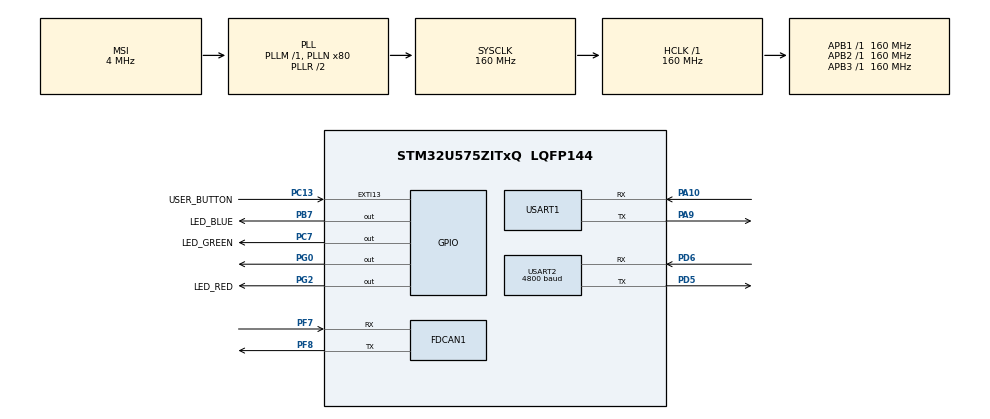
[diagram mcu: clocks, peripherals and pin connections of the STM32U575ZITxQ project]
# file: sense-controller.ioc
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CORTEX_M33_NS.userName=CORTEX_M33
FDCAN1.AutoRetransmission=ENABLE
FDCAN1.CalculateBaudRateNominal=500000
FDCAN1.CalculateTimeBitNominal=2000
FDCAN1.CalculateTimeQuantumNominal=100.0
FDCAN1.ClockDivider=FDCAN_CLOCK_DIV4
FDCAN1.DataSyncJumpWidth=16
FDCAN1.DataTimeSeg1=23
FDCAN1.DataTimeSeg2=16
FDCAN1.ExtFiltersNbr=1
FDCAN1.FrameFormat=FDCAN_FRAME_FD_BRS
FDCAN1.NominalPrescaler=4
FDCAN1.NominalSyncJumpWidth=3
FDCAN1.NominalTimeSeg1=16
FDCAN1.NominalTimeSeg2=3
FDCAN1.StdFiltersNbr=1
GPDMA1.DESTINC_GPDMACH15=DMA_DINC_INCREMENTED
GPDMA1.IPHANDLE_GPDMACH15-SIMPLEREQUEST_GPDMACH15=__NULL
GPDMA1.REQUEST_GPDMACH15=GPDMA1_REQUEST_USART2_RX
Mcu.Family=STM32U5
Mcu.Name=STM32U575ZITxQ
Mcu.Package=LQFP144
NVIC.FDCAN1_IT0_IRQn=true\:0\:0\:false\:false\:true\:true\:true\:true
NVIC.GPDMA1_Channel15_IRQn=true\:0\:0\:false\:false\:true\:false\:true\:true
NVIC.PriorityGroup=NVIC_PRIORITYGROUP_3
NVIC.TIM17_IRQn=true\:7\:0\:false\:false\:true\:false\:true\:true
NVIC.TimeBase=TIM17_IRQn
NVIC.TimeBaseIP=TIM17
NVIC.USART2_IRQn=true\:0\:0\:false\:false\:true\:true\:true\:true
PA10.Mode=Asynchronous
PA10.Signal=USART1_RX
PA13\ (JTMS/SWDIO).Signal=DEBUG_JTMS-SWDIO
PA14\ (JTCK/SWCLK).Signal=DEBUG_JTCK-SWCLK
PA9.Mode=Asynchronous
PA9.Signal=USART1_TX
PB3\ (JTDO/TRACESWO).Signal=DEBUG_JTDO-SWO
PB7.GPIO_Label=LED_BLUE
PB7.Signal=GPIO_Output
PC13.GPIO_Label=USER_BUTTON
PC13.Signal=GPXTI13
PC14-OSC32_IN\ (PC14).Signal=RCC_OSC32_IN
PC15-OSC32_OUT\ (PC15).Signal=RCC_OSC32_OUT
PC7.GPIO_Label=LED_GREEN
PC7.Signal=GPIO_Output
PD5.Mode=Asynchronous
PD5.Signal=USART2_TX
PD6.Mode=Asynchronous
PD6.Signal=USART2_RX
PF7.Mode=FDCAN_Activate
PF7.Signal=FDCAN1_RX
PF8.Mode=FDCAN_Activate
PF8.Signal=FDCAN1_TX
PG0.GPIO_PuPd=GPIO_PULLDOWN
PG0.Signal=GPIO_Output
PG2.GPIO_Label=LED_RED
PG2.Signal=GPIO_Output
PWR.PowerMode=PWR_SMPS_SUPPLY
ProjectManager.HeapSize=0x200
ProjectManager.StackSize=0x400
ProjectManager.TargetToolchain=STM32CubeIDE
RCC.ADCFreq_Value=16000000
RCC.AHBFreq_Value=160000000
RCC.APB1Freq_Value=160000000
RCC.APB1TimFreq_Value=160000000
RCC.APB2Freq_Value=160000000
RCC.APB2TimFreq_Value=160000000
RCC.APB3Freq_Value=160000000
RCC.CortexFreq_Value=160000000
RCC.DACCLockSelectionVirtual=RCC_DAC1CLKSOURCE_LSI
RCC.EPOD_VALUE=4000000
RCC.HCLKFreq_Value=160000000
RCC.HSE_VALUE=16000000
RCC.HSI48_VALUE=48000000
RCC.HSI_VALUE=16000000
RCC.LSE_VALUE=32768
RCC.LSIDIV_VALUE=32000
RCC.MSI_VALUE=4000000
RCC.PLLFRACN=0
RCC.PLLN=80
RCC.SYSCLKFreq_VALUE=160000000
RCC.SYSCLKSource=RCC_SYSCLKSOURCE_PLLCLK
RCC.USBFreq_Value=48000000
RCC.VCOOutputFreq_Value=320000000
USART1.VirtualMode-Asynchronous=VM_ASYNC
USART2.BaudRate=4800
USART2.DataInvertParam=ADVFEATURE_DATAINV_DISABLE
USART2.Mode=MODE_RX
USART2.RxPinLevelInvertParam=ADVFEATURE_RXINV_DISABLE
USART2.SwapParam=ADVFEATURE_SWAP_ENABLE
USART2.VirtualMode-Asynchronous=VM_ASYNC
VP_GPDMA1_VS_GPDMACH15.Mode=SIMPLEREQUEST_GPDMACH15
VP_ICACHE_VS_ENABLE_ICACHE_MEMORY.Mode=Memoryregions
VP_ICACHE_VS_ICACHE.Mode=DirectMappedCache
VP_LPBAMQUEUE_VS_QUEUE.Mode=QUEUEMODE
VP_LPBAM_VS_SIG1.Mode=SmartRun
VP_LPBAM_VS_SIG4.Mode=LPDMA1
VP_MEMORYMAP_VS_MEMORYMAP.Mode=CurAppReg
VP_PWR_VS_DBSignals.Mode=DisableDeadBatterySignals
VP_PWR_VS_LPOM.Mode=PowerOptimisation
VP_PWR_VS_SECSignals.Mode=Security/Privilege
VP_SYS_VS_tim17.Mode=TIM17
board=NUCLEO-U575ZI-Q

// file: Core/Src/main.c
/* USER CODE BEGIN Header */
/**
  ******************************************************************************
  * @file           : main.c
  * @brief          : Main program body
  ******************************************************************************
  * @attention
  *
  * Copyright (c) 2025 STMicroelectronics.
  * All rights reserved.
  *
  * This software is licensed under terms that can be found in the LICENSE file
  * in the root directory of this software component.
  * If no LICENSE file comes with this software, it is provided AS-IS.
  *
  ******************************************************************************
  */
/* USER CODE END Header */
#include "main.h"

/* USER CODE BEGIN Includes */
#include <stdio.h>
#include <stdlib.h>
/* USER CODE END Includes */

/* USER CODE BEGIN PM */
#define WIND_SENSOR_CAN_ID 0x041
/* USER CODE END PM */

FDCAN_HandleTypeDef hfdcan1;

UART_HandleTypeDef huart1;
UART_HandleTypeDef huart2;
DMA_HandleTypeDef handle_GPDMA1_Channel15;

/* USER CODE BEGIN PV */
FDCAN_TxHeaderTypeDef TxHeader1;
HAL_StatusTypeDef CanStartStatus;
/* USER CODE END PV */

void SystemClock_Config(void);
static void SystemPower_Config(void);
static void MX_GPIO_Init(void);
static void MX_GPDMA1_Init(void);
static void MX_ICACHE_Init(void);
static void MX_USART1_UART_Init(void);
static void MX_USART2_UART_Init(void);
static void MX_FDCAN1_Init(void);
/* USER CODE BEGIN PFP */
#ifdef __GNUC__
/* With GCC/RAISONANCE, small printf (option LD Linker->Libraries->Small printf
   set to 'Yes') calls __io_putchar() */
#define PUTCHAR_PROTOTYPE int __io_putchar(int ch)
#else
#define PUTCHAR_PROTOTYPE int fputc(int ch, FILE *f)
#endif /* __GNUC__ */

static uint8_t byte_to_dlc(uint8_t len);
/* USER CODE END PFP */

int main(void)
{

  /* MCU Configuration--------------------------------------------------------*/

  /* Reset of all peripherals, Initializes the Flash interface and the Systick. */
  HAL_Init();

  /* Configure the System Power */
  SystemPower_Config();

  /* Configure the system clock */
  SystemClock_Config();

  /* Initialize all configured peripherals */
  MX_GPIO_Init();
  MX_GPDMA1_Init();
  MX_ICACHE_Init();
  MX_USART1_UART_Init();
  MX_USART2_UART_Init();
  MX_FDCAN1_Init();
  /* USER CODE BEGIN 2 */
  NMEA0183 * windsensor = NMEA0183__create(&huart2);
  uint8_t output_wind_data[4];

  CanStartStatus = HAL_FDCAN_Start(&hfdcan1);
  if (CanStartStatus != HAL_OK)
  {
	  Error_Handler();
  }

  /* USER CODE END 2 */

  /* Infinite loop */
  while (1)
  {

    /* USER CODE BEGIN 3 */
	HAL_Delay(10);
	uint8_t itemsInBuffer = NMEA0183__itemsInBuffer(windsensor);
	if (itemsInBuffer == 0)
//		printf("No items in buffer.\r\n");
		;
	else {
	  	for(uint8_t itemIndex = 0; itemIndex < itemsInBuffer; itemIndex++){
	  		NMEA0183Raw * raw_msg = NMEA0183__getTopBufferItem(windsensor);

	  		if (raw_msg == NULL){
	  			NMEA0183__incrementReadIndex(windsensor);
	  			continue;
	  		}

	  		if (NMEA0183__checkMessage(raw_msg) != GOOD_MESSAGE){
	  			NMEA0183__incrementReadIndex(windsensor);
	  			continue;
	  		}

	  		if (NMEA0183__getScentenceType(raw_msg) == MESSAGE_MWV){
	  			uint16_t processedAngle = atof((char *)NMEA0183__getField(raw_msg, 1));
	  			uint16_t processedSpeed = atof((char *)NMEA0183__getField(raw_msg, 3)) * 10.0;
	  			printf("Wind Dir: %u Wind Speed: %u\r\n", processedAngle,processedSpeed);

	  			TxHeader1.Identifier         = WIND_SENSOR_CAN_ID;
	  			TxHeader1.IdType             = (WIND_SENSOR_CAN_ID>0x7FF) ? FDCAN_EXTENDED_ID : FDCAN_STANDARD_ID;
	  			TxHeader1.TxFrameType        = FDCAN_DATA_FRAME;
	  			TxHeader1.DataLength         = byte_to_dlc(4);  /* HAL expects DLC in bits [19:16] */
	  			TxHeader1.ErrorStateIndicator= FDCAN_ESI_ACTIVE;
	  			TxHeader1.BitRateSwitch      = FDCAN_BRS_ON;
	  			TxHeader1.FDFormat           = FDCAN_FD_CAN;
	  			TxHeader1.TxEventFifoControl = FDCAN_STORE_TX_EVENTS;

	  			output_wind_data[0] = (uint8_t) (processedAngle & 0xFF);
	  			output_wind_data[1] = (uint8_t) ((processedAngle >> 8) & 0xFF);
	  			output_wind_data[2] = (uint8_t) (processedSpeed & 0xFF);
	  			output_wind_data[3] = (uint8_t) ((processedSpeed >> 8) & 0xFF);

	  			if (HAL_FDCAN_AddMessageToTxFifoQ(&hfdcan1,&TxHeader1,output_wind_data)!=HAL_OK) {
	  				 Error_Handler();
	  			}
	  		}

	  		NMEA0183__incrementReadIndex(windsensor);
	  	}
	}

  }
  /* USER CODE END 3 */
}

void SystemClock_Config(void)
{
  RCC_OscInitTypeDef RCC_OscInitStruct = {0};
  RCC_ClkInitTypeDef RCC_ClkInitStruct = {0};

  /** Configure the main internal regulator output voltage
  */
  if (HAL_PWREx_ControlVoltageScaling(PWR_REGULATOR_VOLTAGE_SCALE1) != HAL_OK)
  {
    Error_Handler();
  }

  /** Initializes the CPU, AHB and APB buses clocks
  */
  RCC_OscInitStruct.OscillatorType = RCC_OSCILLATORTYPE_MSI;
  RCC_OscInitStruct.MSIState = RCC_MSI_ON;
  RCC_OscInitStruct.MSICalibrationValue = RCC_MSICALIBRATION_DEFAULT;
  RCC_OscInitStruct.MSIClockRange = RCC_MSIRANGE_4;
  RCC_OscInitStruct.PLL.PLLState = RCC_PLL_ON;
  RCC_OscInitStruct.PLL.PLLSource = RCC_PLLSOURCE_MSI;
  RCC_OscInitStruct.PLL.PLLMBOOST = RCC_PLLMBOOST_DIV1;
  RCC_OscInitStruct.PLL.PLLM = 1;
  RCC_OscInitStruct.PLL.PLLN = 80;
  RCC_OscInitStruct.PLL.PLLP = 2;
  RCC_OscInitStruct.PLL.PLLQ = 2;
  RCC_OscInitStruct.PLL.PLLR = 2;
  RCC_OscInitStruct.PLL.PLLRGE = RCC_PLLVCIRANGE_0;
  RCC_OscInitStruct.PLL.PLLFRACN = 0;
  if (HAL_RCC_OscConfig(&RCC_OscInitStruct) != HAL_OK)
  {
    Error_Handler();
  }

  /** Initializes the CPU, AHB and APB buses clocks
  */
  RCC_ClkInitStruct.ClockType = RCC_CLOCKTYPE_HCLK|RCC_CLOCKTYPE_SYSCLK
                              |RCC_CLOCKTYPE_PCLK1|RCC_CLOCKTYPE_PCLK2
                              |RCC_CLOCKTYPE_PCLK3;
  RCC_ClkInitStruct.SYSCLKSource = RCC_SYSCLKSOURCE_PLLCLK;
  RCC_ClkInitStruct.AHBCLKDivider = RCC_SYSCLK_DIV1;
  RCC_ClkInitStruct.APB1CLKDivider = RCC_HCLK_DIV1;
  RCC_ClkInitStruct.APB2CLKDivider = RCC_HCLK_DIV1;
  RCC_ClkInitStruct.APB3CLKDivider = RCC_HCLK_DIV1;

  if (HAL_RCC_ClockConfig(&RCC_ClkInitStruct, FLASH_LATENCY_4) != HAL_OK)
  {
    Error_Handler();
  }
}

/**
  * @brief Power Configuration
  * @retval None
  */
static void SystemPower_Config(void)
{
  HAL_PWREx_EnableVddIO2();

  /*
   * Disable the internal Pull-Up in Dead Battery pins of UCPD peripheral
   */
  HAL_PWREx_DisableUCPDDeadBattery();

  /*
   * Switch to SMPS regulator instead of LDO
   */
  if (HAL_PWREx_ConfigSupply(PWR_SMPS_SUPPLY) != HAL_OK)
  {
    Error_Handler();
  }
}

static void MX_FDCAN1_Init(void)
{

  hfdcan1.Instance = FDCAN1;
  hfdcan1.Init.ClockDivider = FDCAN_CLOCK_DIV4;
  hfdcan1.Init.FrameFormat = FDCAN_FRAME_FD_BRS;
  hfdcan1.Init.Mode = FDCAN_MODE_NORMAL;
  hfdcan1.Init.AutoRetransmission = ENABLE;
  hfdcan1.Init.TransmitPause = DISABLE;
  hfdcan1.Init.ProtocolException = DISABLE;
  hfdcan1.Init.NominalPrescaler = 4;
  hfdcan1.Init.NominalSyncJumpWidth = 3;
  hfdcan1.Init.NominalTimeSeg1 = 16;
  hfdcan1.Init.NominalTimeSeg2 = 3;
  hfdcan1.Init.DataPrescaler = 1;
  hfdcan1.Init.DataSyncJumpWidth = 16;
  hfdcan1.Init.DataTimeSeg1 = 23;
  hfdcan1.Init.DataTimeSeg2 = 16;
  hfdcan1.Init.StdFiltersNbr = 1;
  hfdcan1.Init.ExtFiltersNbr = 1;
  hfdcan1.Init.TxFifoQueueMode = FDCAN_TX_FIFO_OPERATION;
  if (HAL_FDCAN_Init(&hfdcan1) != HAL_OK)
  {
    Error_Handler();
  }

}

static void MX_GPDMA1_Init(void)
{

  /* Peripheral clock enable */
  __HAL_RCC_GPDMA1_CLK_ENABLE();

  /* GPDMA1 interrupt Init */
    HAL_NVIC_SetPriority(GPDMA1_Channel15_IRQn, 0, 0);
    HAL_NVIC_EnableIRQ(GPDMA1_Channel15_IRQn);

}

static void MX_ICACHE_Init(void)
{

  /** Enable instruction cache in 1-way (direct mapped cache)
  */
  if (HAL_ICACHE_ConfigAssociativityMode(ICACHE_1WAY) != HAL_OK)
  {
    Error_Handler();
  }
  if (HAL_ICACHE_Enable() != HAL_OK)
  {
    Error_Handler();
  }

}

static void MX_USART1_UART_Init(void)
{

  huart1.Instance = USART1;
  huart1.Init.BaudRate = 115200;
  huart1.Init.WordLength = UART_WORDLENGTH_8B;
  huart1.Init.StopBits = UART_STOPBITS_1;
  huart1.Init.Parity = UART_PARITY_NONE;
  huart1.Init.Mode = UART_MODE_TX_RX;
  huart1.Init.HwFlowCtl = UART_HWCONTROL_NONE;
  huart1.Init.OverSampling = UART_OVERSAMPLING_16;
  huart1.Init.OneBitSampling = UART_ONE_BIT_SAMPLE_DISABLE;
  huart1.Init.ClockPrescaler = UART_PRESCALER_DIV1;
  huart1.AdvancedInit.AdvFeatureInit = UART_ADVFEATURE_NO_INIT;
  if (HAL_UART_Init(&huart1) != HAL_OK)
  {
    Error_Handler();
  }
  if (HAL_UARTEx_SetTxFifoThreshold(&huart1, UART_TXFIFO_THRESHOLD_1_8) != HAL_OK)
  {
    Error_Handler();
  }
  if (HAL_UARTEx_SetRxFifoThreshold(&huart1, UART_RXFIFO_THRESHOLD_1_8) != HAL_OK)
  {
    Error_Handler();
  }
  if (HAL_UARTEx_DisableFifoMode(&huart1) != HAL_OK)
  {
    Error_Handler();
  }

}

static void MX_USART2_UART_Init(void)
{

  huart2.Instance = USART2;
  huart2.Init.BaudRate = 4800;
  huart2.Init.WordLength = UART_WORDLENGTH_8B;
  huart2.Init.StopBits = UART_STOPBITS_1;
  huart2.Init.Parity = UART_PARITY_NONE;
  huart2.Init.Mode = UART_MODE_RX;
  huart2.Init.HwFlowCtl = UART_HWCONTROL_NONE;
  huart2.Init.OverSampling = UART_OVERSAMPLING_16;
  huart2.Init.OneBitSampling = UART_ONE_BIT_SAMPLE_DISABLE;
  huart2.Init.ClockPrescaler = UART_PRESCALER_DIV1;
  huart2.AdvancedInit.AdvFeatureInit = UART_ADVFEATURE_SWAP_INIT;
  huart2.AdvancedInit.Swap = UART_ADVFEATURE_SWAP_ENABLE;
  if (HAL_UART_Init(&huart2) != HAL_OK)
  {
    Error_Handler();
  }
  if (HAL_UARTEx_SetTxFifoThreshold(&huart2, UART_TXFIFO_THRESHOLD_1_8) != HAL_OK)
  {
    Error_Handler();
  }
  if (HAL_UARTEx_SetRxFifoThreshold(&huart2, UART_RXFIFO_THRESHOLD_1_8) != HAL_OK)
  {
    Error_Handler();
  }
  if (HAL_UARTEx_DisableFifoMode(&huart2) != HAL_OK)
  {
    Error_Handler();
  }

}

static void MX_GPIO_Init(void)
{
  GPIO_InitTypeDef GPIO_InitStruct = {0};

  /* GPIO Ports Clock Enable */
  __HAL_RCC_GPIOC_CLK_ENABLE();
  __HAL_RCC_GPIOF_CLK_ENABLE();
  __HAL_RCC_GPIOG_CLK_ENABLE();
  __HAL_RCC_GPIOA_CLK_ENABLE();
  __HAL_RCC_GPIOD_CLK_ENABLE();
  __HAL_RCC_GPIOB_CLK_ENABLE();

  /*Configure GPIO pin Output Level */
  HAL_GPIO_WritePin(GPIOG, GPIO_PIN_0|LED_RED_Pin, GPIO_PIN_RESET);

  /*Configure GPIO pin Output Level */
  HAL_GPIO_WritePin(LED_GREEN_GPIO_Port, LED_GREEN_Pin, GPIO_PIN_RESET);

  /*Configure GPIO pin Output Level */
  HAL_GPIO_WritePin(LED_BLUE_GPIO_Port, LED_BLUE_Pin, GPIO_PIN_RESET);

  /*Configure GPIO pin : USER_BUTTON_Pin */
  GPIO_InitStruct.Pin = USER_BUTTON_Pin;
  GPIO_InitStruct.Mode = GPIO_MODE_IT_RISING;
  GPIO_InitStruct.Pull = GPIO_NOPULL;
  HAL_GPIO_Init(USER_BUTTON_GPIO_Port, &GPIO_InitStruct);

  /*Configure GPIO pin : PG0 */
  GPIO_InitStruct.Pin = GPIO_PIN_0;
  GPIO_InitStruct.Mode = GPIO_MODE_OUTPUT_PP;
  GPIO_InitStruct.Pull = GPIO_PULLDOWN;
  GPIO_InitStruct.Speed = GPIO_SPEED_FREQ_LOW;
  HAL_GPIO_Init(GPIOG, &GPIO_InitStruct);

  /*Configure GPIO pin : LED_RED_Pin */
  GPIO_InitStruct.Pin = LED_RED_Pin;
  GPIO_InitStruct.Mode = GPIO_MODE_OUTPUT_PP;
  GPIO_InitStruct.Pull = GPIO_NOPULL;
  GPIO_InitStruct.Speed = GPIO_SPEED_FREQ_LOW;
  HAL_GPIO_Init(LED_RED_GPIO_Port, &GPIO_InitStruct);

  /*Configure GPIO pin : LED_GREEN_Pin */
  GPIO_InitStruct.Pin = LED_GREEN_Pin;
  GPIO_InitStruct.Mode = GPIO_MODE_OUTPUT_PP;
  GPIO_InitStruct.Pull = GPIO_NOPULL;
  GPIO_InitStruct.Speed = GPIO_SPEED_FREQ_LOW;
  HAL_GPIO_Init(LED_GREEN_GPIO_Port, &GPIO_InitStruct);

  /*Configure GPIO pin : LED_BLUE_Pin */
  GPIO_InitStruct.Pin = LED_BLUE_Pin;
  GPIO_InitStruct.Mode = GPIO_MODE_OUTPUT_PP;
  GPIO_InitStruct.Pull = GPIO_NOPULL;
  GPIO_InitStruct.Speed = GPIO_SPEED_FREQ_LOW;
  HAL_GPIO_Init(LED_BLUE_GPIO_Port, &GPIO_InitStruct);

}

/* USER CODE BEGIN 4 */
PUTCHAR_PROTOTYPE
{
  /* Place your implementation of fputc here */
  /* e.g. write a character to the USART1 and Loop until the end of transmission */
  HAL_UART_Transmit(&huart1, (uint8_t *)&ch, 1, 0xFFFF);

  return ch;
}

static uint8_t byte_to_dlc(uint8_t len) {
	if (len <= 8) return len;
    else if (len == 12) return 9;
    else if (len == 16) return 10;
    else if (len == 20) return 11;
    else if (len == 24) return 12;
    else if (len == 32) return 13;
    else if (len == 48) return 14;
    else return 15;
}
/* USER CODE END 4 */

void HAL_TIM_PeriodElapsedCallback(TIM_HandleTypeDef *htim)
{
  if (htim->Instance == TIM17)
  {
    HAL_IncTick();
  }
}

void Error_Handler(void)
{
  __disable_irq();
  while (1)
  {
  }
}
